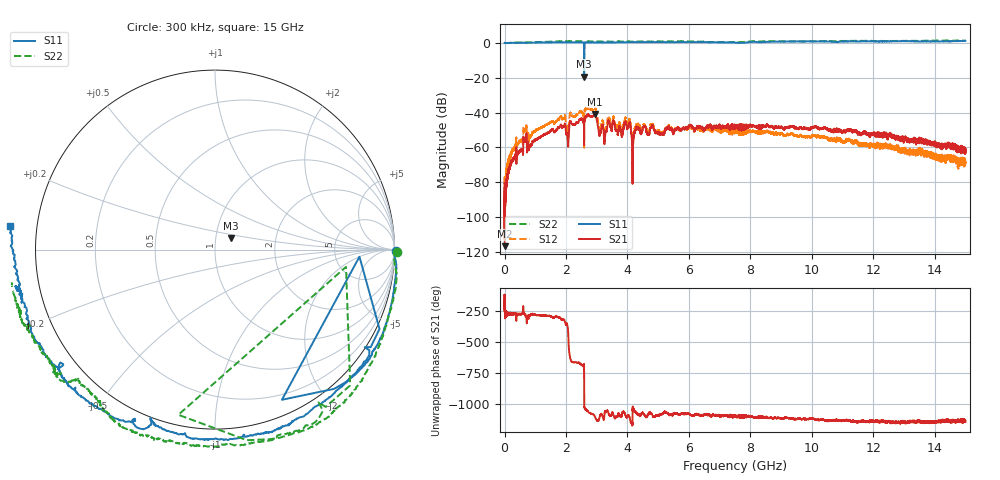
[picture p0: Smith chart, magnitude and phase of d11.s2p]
!Agilent Technologies,N5230C,SG49000117,A.08.50.07
!Agilent N5230C: A.08.50.07
!Date: Friday, May 17, 2024 04:48:25
!Correction: S11(Full 2 Port(1,2))
!S21(Full 2 Port(1,2))
!S12(Full 2 Port(1,2))
!S22(Full 2 Port(1,2))
!S2P File: Measurements: S11, S21, S12, S22:
# Hz S  MA  R 50
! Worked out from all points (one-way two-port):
!   20001 points, 300 kHz to 15 GHz, reference 50 ohm
!   highest |S21| = -40.83 dB at 2.943 GHz (marker M1); lowest = -116.9 dB at 7.8 MHz (marker M2)
!   lowest |S11| = -19.3 dB at 2.59 GHz (marker M3), VSWR 1.24, Z = 59 + j7.73 ohm
!   |S11| at or under -10 dB: 2.588678 GHz to 2.590682 GHz (2.004 MHz wide, 0.0774 % of centre)
!   |S22| runs from -13.7 to 1.5 dB; largest |S21 - S12| = 0.0079
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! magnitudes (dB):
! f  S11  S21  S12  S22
! 300 kHz  0.0  -87.6  -85.0  0.1
! 7.8 MHz  0.0  -116.9  -86.3  0.0
! 218.5 MHz  0.1  -69.0  -63.0  0.1
! 647.5 MHz  0.2  -56.1  -50.2  0.3
! 799 MHz  0.2  -60.6  -55.0  0.4
! 1.896 GHz  0.4  -48.1  -43.1  0.9
! 2.046 GHz  0.4  -54.2  -49.4  0.9
! 2.175 GHz  0.4  -46.2  -41.1  1.0
! 2.501 GHz  0.4  -43.5  -39.2  1.0
! 2.59 GHz  -19.3  -46.4  -46.2  -13.7
! 2.943 GHz  0.3  -40.8  -37.5  0.8
! 3.08 GHz  0.3  -53.0  -50.1  0.9
! 3.264 GHz  0.3  -54.7  -51.5  0.8
! 3.405 GHz  0.4  -45.4  -43.1  0.8
! 4.011 GHz  0.5  -48.6  -46.6  0.8
! 4.186 GHz  0.5  -56.8  -55.7  0.8
! 4.331 GHz  0.5  -48.7  -46.7  0.8
! 5 GHz  0.5  -51.8  -50.9  0.9
! 7.5 GHz  0.2  -48.9  -51.0  0.5
! 10 GHz  0.9  -48.9  -53.7  1.0
! 12.5 GHz  0.9  -53.1  -59.8  1.1
! 15 GHz  1.2  -62.2  -68.4  1.4
